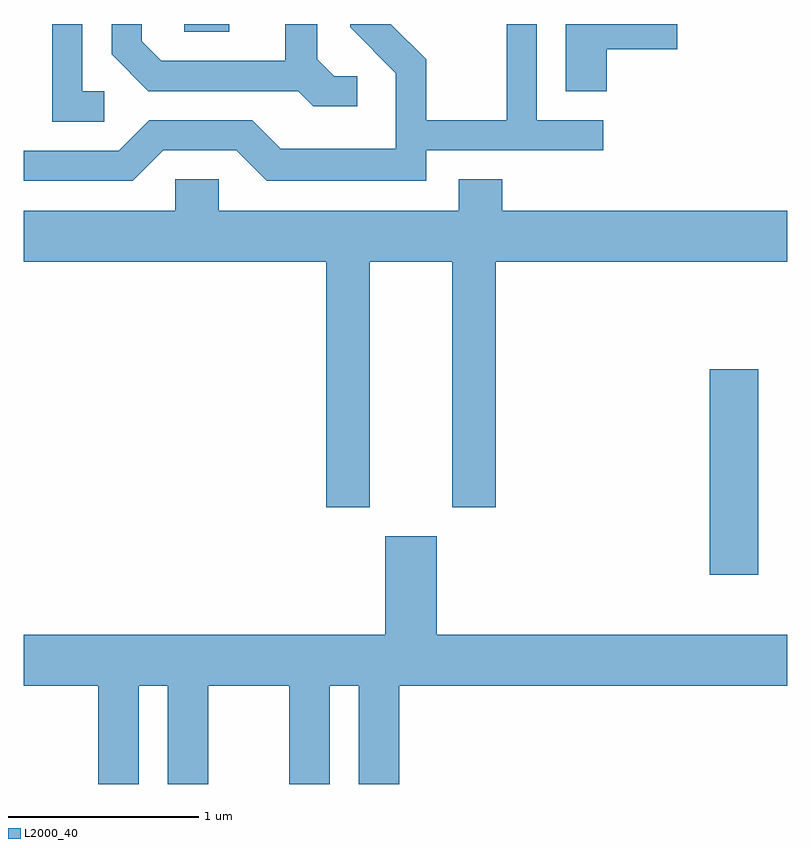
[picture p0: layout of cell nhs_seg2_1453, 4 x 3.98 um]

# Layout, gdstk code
import gdstk
lib = gdstk.Library(unit=1e-6, precision=1e-09)
def R(c, l, rs):  # rectangles x0, y0, x1, y1
    for r in rs: c.add(gdstk.rectangle(r[:2], r[2:], *l))
def P(c, l, *ps):  # polygons
    for p in ps: c.add(gdstk.Polygon(p, *l))
L2000_40 = (2000, 40)

nhs_seg2_1453 = lib.new_cell('nhs_seg2_1453')
R(nhs_seg2_1453, L2000_40, [(231.206,1028.916,231.459,1029.994), (228.451,1031.761,228.689,1031.802)])
P(nhs_seg2_1453, L2000_40, [(230.664,1031.671),(231.034,1031.671),(231.034,1031.802),(230.451,1031.802),(230.451,1031.451),(230.664,1031.451)],
  [(228.033,1031.449),(227.919,1031.449),(227.919,1031.802),(227.761,1031.802),(227.761,1031.291),(228.033,1031.291)],
  [(229.358,1031.529),(229.237,1031.529),(229.149,1031.617),(229.149,1031.802),(228.981,1031.802),(228.981,1031.609),(228.332,1031.609),(228.229,1031.712),(228.229,1031.802),(228.071,1031.802),(228.071,1031.644),(228.264,1031.451),(229.049,1031.451),(229.129,1031.371),(229.358,1031.371)],
  [(228.342,1031.141),(228.724,1031.141),(228.884,1030.981),(229.719,1030.981),(229.719,1031.141),(230.648,1031.141),(230.648,1031.299),(230.299,1031.299),(230.299,1031.802),(230.141,1031.802),(230.141,1031.299),(229.719,1031.299),(229.719,1031.617),(229.534,1031.802),(229.321,1031.802),(229.321,1031.784),(229.561,1031.544),(229.561,1031.149),(228.957,1031.149),(228.807,1031.299),(228.269,1031.299),(228.109,1031.139),(227.611,1031.139),(227.611,1030.981),(228.182,1030.981)],
  [(229.424,1030.556),(229.856,1030.556),(229.856,1029.271),(230.084,1029.271),(230.084,1030.556),(231.611,1030.556),(231.611,1030.824),(230.119,1030.824),(230.119,1030.989),(229.891,1030.989),(229.891,1030.824),(228.634,1030.824),(228.634,1030.989),(228.406,1030.989),(228.406,1030.824),(227.611,1030.824),(227.611,1030.556),(229.196,1030.556),(229.196,1029.271),(229.424,1029.271)],
  [(228.214,1028.336),(228.366,1028.336),(228.366,1027.821),(228.579,1027.821),(228.579,1028.336),(229.001,1028.336),(229.001,1027.821),(229.214,1027.821),(229.214,1028.336),(229.366,1028.336),(229.366,1027.821),(229.579,1027.821),(229.579,1028.336),(231.611,1028.336),(231.611,1028.604),(229.774,1028.604),(229.774,1029.119),(229.506,1029.119),(229.506,1028.604),(227.611,1028.604),(227.611,1028.336),(228.001,1028.336),(228.001,1027.821),(228.214,1027.821)])

lib.write_gds('nhs_seg2_1453.gds')
